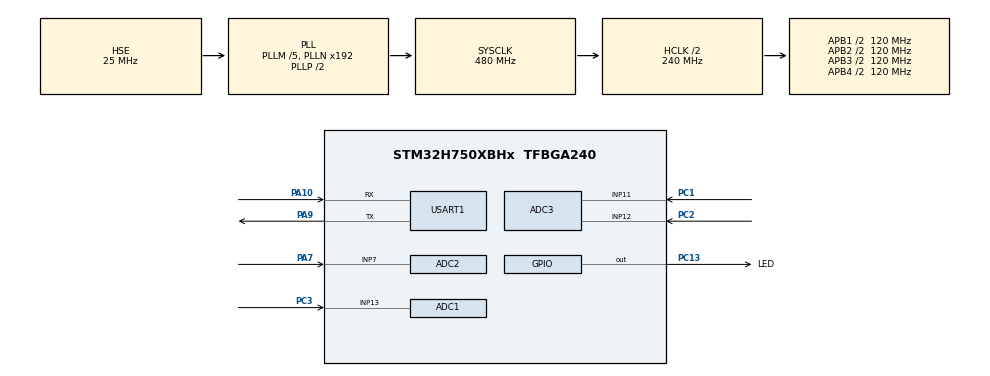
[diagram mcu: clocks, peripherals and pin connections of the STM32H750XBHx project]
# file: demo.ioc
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ADC1.Channel-0\#ChannelRegularConversion=ADC_CHANNEL_12
ADC1.Channel-1\#ChannelRegularConversion=ADC_CHANNEL_13
ADC1.ContinuousConvMode=ENABLE
ADC1.ConversionDataManagement=ADC_CONVERSIONDATA_DMA_CIRCULAR
ADC1.NbrOfConversion=2
ADC1.NbrOfConversionFlag=1
ADC1.OffsetNumber-0\#ChannelRegularConversion=ADC_OFFSET_NONE
ADC1.OffsetNumber-1\#ChannelRegularConversion=ADC_OFFSET_NONE
ADC1.OffsetSignedSaturation-0\#ChannelRegularConversion=DISABLE
ADC1.OffsetSignedSaturation-1\#ChannelRegularConversion=DISABLE
ADC1.Overrun=ADC_OVR_DATA_OVERWRITTEN
ADC1.OversamplingMode=ENABLE
ADC1.Rank-0\#ChannelRegularConversion=1
ADC1.Rank-1\#ChannelRegularConversion=2
ADC1.Ratio=1024
ADC1.RightBitShift=ADC_RIGHTBITSHIFT_10
ADC1.SamplingTime-0\#ChannelRegularConversion=ADC_SAMPLETIME_810CYCLES_5
ADC1.SamplingTime-1\#ChannelRegularConversion=ADC_SAMPLETIME_810CYCLES_5
ADC1.master=1
ADC2.Channel-2\#ChannelRegularConversion=ADC_CHANNEL_7
ADC2.ConversionDataManagement=ADC_CONVERSIONDATA_DMA_CIRCULAR
ADC2.ExternalTrigConv=ADC_EXTERNALTRIG_T6_TRGO
ADC2.NbrOfConversionFlag=1
ADC2.OffsetNumber-2\#ChannelRegularConversion=ADC_OFFSET_NONE
ADC2.OffsetSignedSaturation-2\#ChannelRegularConversion=DISABLE
ADC2.Overrun=ADC_OVR_DATA_OVERWRITTEN
ADC2.Rank-2\#ChannelRegularConversion=1
ADC2.SamplingTime-2\#ChannelRegularConversion=ADC_SAMPLETIME_810CYCLES_5
ADC3.Channel-0\#ChannelRegularConversion=ADC_CHANNEL_11
ADC3.Channel-1\#ChannelRegularConversion=ADC_CHANNEL_12
ADC3.Channel-2\#ChannelRegularConversion=ADC_CHANNEL_VREFINT
ADC3.Channel-4\#ChannelRegularConversion=ADC_CHANNEL_TEMPSENSOR
ADC3.ContinuousConvMode=ENABLE
ADC3.ConversionDataManagement=ADC_CONVERSIONDATA_DMA_CIRCULAR
ADC3.NbrOfConversion=4
ADC3.NbrOfConversionFlag=1
ADC3.OffsetNumber-0\#ChannelRegularConversion=ADC_OFFSET_NONE
ADC3.OffsetNumber-1\#ChannelRegularConversion=ADC_OFFSET_NONE
ADC3.OffsetNumber-2\#ChannelRegularConversion=ADC_OFFSET_NONE
ADC3.OffsetNumber-4\#ChannelRegularConversion=ADC_OFFSET_NONE
ADC3.OffsetSignedSaturation-0\#ChannelRegularConversion=DISABLE
ADC3.OffsetSignedSaturation-1\#ChannelRegularConversion=DISABLE
ADC3.OffsetSignedSaturation-2\#ChannelRegularConversion=DISABLE
ADC3.OffsetSignedSaturation-4\#ChannelRegularConversion=DISABLE
ADC3.Overrun=ADC_OVR_DATA_OVERWRITTEN
ADC3.OversamplingMode=DISABLE
ADC3.Rank-0\#ChannelRegularConversion=1
ADC3.Rank-1\#ChannelRegularConversion=2
ADC3.Rank-2\#ChannelRegularConversion=3
ADC3.Rank-4\#ChannelRegularConversion=4
ADC3.SamplingTime-0\#ChannelRegularConversion=ADC_SAMPLETIME_810CYCLES_5
ADC3.SamplingTime-1\#ChannelRegularConversion=ADC_SAMPLETIME_810CYCLES_5
ADC3.SamplingTime-2\#ChannelRegularConversion=ADC_SAMPLETIME_810CYCLES_5
ADC3.SamplingTime-4\#ChannelRegularConversion=ADC_SAMPLETIME_810CYCLES_5
Bdma.ADC3.0.Direction=DMA_PERIPH_TO_MEMORY
Bdma.ADC3.0.EventEnable=DISABLE
Bdma.ADC3.0.Instance=BDMA_Channel0
Bdma.ADC3.0.MemDataAlignment=DMA_MDATAALIGN_HALFWORD
Bdma.ADC3.0.MemInc=DMA_MINC_ENABLE
Bdma.ADC3.0.Mode=DMA_CIRCULAR
Bdma.ADC3.0.PeriphDataAlignment=DMA_PDATAALIGN_HALFWORD
Bdma.ADC3.0.PeriphInc=DMA_PINC_DISABLE
Bdma.ADC3.0.Polarity=HAL_DMAMUX_REQ_GEN_RISING
Bdma.ADC3.0.Priority=DMA_PRIORITY_LOW
Bdma.ADC3.0.RequestNumber=1
Bdma.ADC3.0.SignalID=NONE
Bdma.ADC3.0.SyncEnable=ENABLE
Bdma.ADC3.0.SyncPolarity=HAL_DMAMUX_SYNC_RISING
Bdma.ADC3.0.SyncRequestNumber=1
Bdma.ADC3.0.SyncSignalID=NONE
Bdma.Request0=ADC3
Bdma.RequestsNb=1
CORTEX_M7.CPU_DCache=Enabled
CORTEX_M7.default_mode_Activation=1
Dma.ADC1.0.Direction=DMA_PERIPH_TO_MEMORY
Dma.ADC1.0.EventEnable=DISABLE
Dma.ADC1.0.FIFOMode=DMA_FIFOMODE_DISABLE
Dma.ADC1.0.Instance=DMA1_Stream0
Dma.ADC1.0.MemDataAlignment=DMA_MDATAALIGN_HALFWORD
Dma.ADC1.0.MemInc=DMA_MINC_ENABLE
Dma.ADC1.0.Mode=DMA_CIRCULAR
Dma.ADC1.0.PeriphDataAlignment=DMA_PDATAALIGN_HALFWORD
Dma.ADC1.0.PeriphInc=DMA_PINC_DISABLE
Dma.ADC1.0.Polarity=HAL_DMAMUX_REQ_GEN_RISING
Dma.ADC1.0.Priority=DMA_PRIORITY_LOW
Dma.ADC1.0.RequestNumber=1
Dma.ADC1.0.SignalID=NONE
Dma.ADC1.0.SyncEnable=DISABLE
Dma.ADC1.0.SyncPolarity=HAL_DMAMUX_SYNC_NO_EVENT
Dma.ADC1.0.SyncRequestNumber=1
Dma.ADC1.0.SyncSignalID=NONE
Dma.ADC2.1.Direction=DMA_PERIPH_TO_MEMORY
Dma.ADC2.1.EventEnable=DISABLE
Dma.ADC2.1.FIFOMode=DMA_FIFOMODE_DISABLE
Dma.ADC2.1.Instance=DMA1_Stream1
Dma.ADC2.1.MemDataAlignment=DMA_MDATAALIGN_HALFWORD
Dma.ADC2.1.MemInc=DMA_MINC_ENABLE
Dma.ADC2.1.Mode=DMA_CIRCULAR
Dma.ADC2.1.PeriphDataAlignment=DMA_PDATAALIGN_HALFWORD
Dma.ADC2.1.PeriphInc=DMA_PINC_DISABLE
Dma.ADC2.1.Polarity=HAL_DMAMUX_REQ_GEN_RISING
Dma.ADC2.1.Priority=DMA_PRIORITY_LOW
Dma.ADC2.1.RequestNumber=1
Dma.ADC2.1.SignalID=NONE
Dma.ADC2.1.SyncEnable=DISABLE
Dma.ADC2.1.SyncPolarity=HAL_DMAMUX_SYNC_NO_EVENT
Dma.ADC2.1.SyncRequestNumber=1
Dma.ADC2.1.SyncSignalID=NONE
Dma.Request0=ADC1
Dma.Request1=ADC2
Mcu.Family=STM32H7
Mcu.Name=STM32H750XBHx
Mcu.Package=TFBGA240
NVIC.BDMA_Channel0_IRQn=true\:0\:0\:false\:false\:true\:false\:true\:true
NVIC.DMA1_Stream0_IRQn=true\:0\:0\:false\:false\:true\:false\:true\:true
NVIC.DMA1_Stream1_IRQn=true\:0\:0\:false\:false\:true\:false\:true\:true
NVIC.DMAMUX2_OVR_IRQn=true\:0\:0\:false\:false\:true\:false\:true\:true
NVIC.PriorityGroup=NVIC_PRIORITYGROUP_4
PA10.Mode=Asynchronous
PA10.Signal=USART1_RX
PA13\ (JTMS/SWDIO).Mode=Serial_Wire
PA13\ (JTMS/SWDIO).Signal=DEBUG_JTMS-SWDIO
PA14\ (JTCK/SWCLK).Mode=Serial_Wire
PA14\ (JTCK/SWCLK).Signal=DEBUG_JTCK-SWCLK
PA7.Signal=ADCx_INP7
PA9.Mode=Asynchronous
PA9.Signal=USART1_TX
PC1.Signal=ADCx_INP11
PC13.GPIO_Label=LED
PC13.GPIO_PuPd=GPIO_PULLUP
PC13.PinState=GPIO_PIN_SET
PC13.Signal=GPIO_Output
PC2.Signal=ADCx_INP12
PC3.Signal=ADCx_INP13
PH0-OSC_IN\ (PH0).Mode=HSE-External-Oscillator
PH0-OSC_IN\ (PH0).Signal=RCC_OSC_IN
PH1-OSC_OUT\ (PH1).Mode=HSE-External-Oscillator
PH1-OSC_OUT\ (PH1).Signal=RCC_OSC_OUT
ProjectManager.HeapSize=0x10000
ProjectManager.StackSize=0x10000
ProjectManager.TargetToolchain=MDK-ARM V5.32
RCC.ADCFreq_Value=75000000
RCC.APB1Freq_Value=120000000
RCC.APB2Freq_Value=120000000
RCC.APB3Freq_Value=120000000
RCC.APB4Freq_Value=120000000
RCC.CortexFreq_Value=480000000
RCC.D1PPRE=RCC_APB3_DIV2
RCC.D2PPRE1=RCC_APB1_DIV2
RCC.D2PPRE2=RCC_APB2_DIV2
RCC.D3PPRE=RCC_APB4_DIV2
RCC.DIVM1=5
RCC.DIVM2=2
RCC.DIVN1=192
RCC.DIVN2=12
RCC.HCLKFreq_Value=240000000
RCC.HPRE=RCC_HCLK_DIV2
RCC.PLL2FRACN=0
RCC.PLL3FRACN=0
RCC.PLLFRACN=0
RCC.PLLSourceVirtual=RCC_PLLSOURCE_HSE
RCC.PWR_Regulator_Voltage_Scale=PWR_REGULATOR_VOLTAGE_SCALE0
RCC.SYSCLKFreq_VALUE=480000000
RCC.SYSCLKSource=RCC_SYSCLKSOURCE_PLLCLK
RCC.USBFreq_Value=480000000
SH.ADCx_INP11.0=ADC3_INP11,IN11-Single-Ended
SH.ADCx_INP12.0=ADC3_INP12,IN12-Single-Ended
SH.ADCx_INP12.1=ADC1_INP12,IN12-Single-Ended
SH.ADCx_INP13.0=ADC1_INP13,IN13-Single-Ended
SH.ADCx_INP7.0=ADC2_INP7,IN7-Single-Ended
TIM6.AutoReloadPreload=TIM_AUTORELOAD_PRELOAD_ENABLE
TIM6.Period=500-1
TIM6.Prescaler=240-1
TIM6.TIM_MasterOutputTrigger=TIM_TRGO_UPDATE
USART1.VirtualMode-Asynchronous=VM_ASYNC
VP_ADC3_TempSens_Input.Mode=IN-TempSens
VP_ADC3_Vref_Input.Mode=IN-Vrefint
VP_TIM6_VS_ClockSourceINT.Mode=Enable_Timer
board=custom

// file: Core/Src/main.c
/* USER CODE BEGIN Header */
/**
 ******************************************************************************
 * @file           : main.c
 * @brief          : Main program body
 ******************************************************************************
 * @attention
 *
 * Copyright (c) 2023 STMicroelectronics.
 * All rights reserved.
 *
 * This software is licensed under terms that can be found in the LICENSE file
 * in the root directory of this software component.
 * If no LICENSE file comes with this software, it is provided AS-IS.
 *
 ******************************************************************************
 */
/* USER CODE END Header */
#include "main.h"

/* USER CODE BEGIN Includes */
#include "dsp_fft.h"
#include "adc_ts.h"

/* USER CODE END Includes */

/* USER CODE BEGIN PTD */
typedef float float32_t;

/* USER CODE END PTD */

/* USER CODE BEGIN PD */

#if defined(__CC_ARM)  // AC5
#define __AT_ADDR(addr) __attribute__((at(addr)))
#elif defined(__GNUC__)  // AC6
#define __AT_ADDR(addr) __attribute__((section(".ARM.__at_" #addr)))
#endif

#ifndef FFT_N
#define FFT_N 2048  // 配置项: FFT 点数
#endif

/* USER CODE END PD */

/* USER CODE BEGIN PM */
#define ARRAY_SIZE(array) (sizeof(array) / sizeof(*(array)))

/* USER CODE END PM */

ADC_HandleTypeDef hadc1;
ADC_HandleTypeDef hadc2;
ADC_HandleTypeDef hadc3;
DMA_HandleTypeDef hdma_adc1;
DMA_HandleTypeDef hdma_adc2;
DMA_HandleTypeDef hdma_adc3;

TIM_HandleTypeDef htim6;

UART_HandleTypeDef huart1;

/* USER CODE BEGIN PV */

__AT_ADDR(0x24000000)
ALIGN_32BYTES(__IO uint16_t ADC1_Conv[2]) = {0};  // AXI

__AT_ADDR(0x24000000)
ALIGN_32BYTES(__IO uint16_t ADC2_Conv[FFT_N * 2]) = {0};  // AXI

__AT_ADDR(0x38000000)
ALIGN_32BYTES(__IO uint16_t ADC3_Conv[4]) = {0};  // SRAM4

/* USER CODE END PV */

void SystemClock_Config(void);
void PeriphCommonClock_Config(void);
static void MPU_Config(void);
static void MX_GPIO_Init(void);
static void MX_BDMA_Init(void);
static void MX_DMA_Init(void);
static void MX_ADC3_Init(void);
static void MX_ADC1_Init(void);
static void MX_USART1_UART_Init(void);
static void MX_ADC2_Init(void);
static void MX_TIM6_Init(void);

/* USER CODE BEGIN 0 */

static uint16_t ADC2_Fs_Hz;
static uint8_t  ADC2_Conv_DmaStage = 0;

void ADC2_DMA_CallBack(void)  // call in DMAx_Streamx_IRQHandler()
{
    // DMA double buffer (双缓冲原理: DMA过半中断)

    if ((DMA1->LISR & DMA_FLAG_HTIF1_5) != RESET)  // HalfCplt
    {
        SCB_InvalidateDCache_by_Addr((uint32_t*)(&ADC2_Conv[0]), FFT_N);
        ADC2_Conv_DmaStage = 1;
    }
    else if ((DMA1->LISR & DMA_FLAG_TCIF1_5) != RESET)  // Cplt
    {
        SCB_InvalidateDCache_by_Addr((uint32_t*)(&ADC2_Conv[FFT_N]), FFT_N);
        ADC2_Conv_DmaStage = 2;
    }
}

void ADC2_FFT_Proc(void)
{
    float32_t aInput[FFT_N];

    uint16_t*  pSrc;
    float32_t* pDest = &aInput[0];

    switch (ADC2_Conv_DmaStage)
    {
        case 1:
            pSrc = (uint16_t*)&ADC2_Conv[0];
            break;
        case 2:
            pSrc = (uint16_t*)&ADC2_Conv[FFT_N];
            break;
        default:
            return;
    }

    ADC2_Conv_DmaStage = 0;

    for (uint32_t i = 0; i < FFT_N; i++)
    {
#if 0
        // 50Hz cos + 100Hz cos, fs = 1024, phase = 60
        *pDest++ = 1.2 + 2.5 * cos(2 * 3.1415926 * 50 * i / 1024 + 3.1415926 / 3) + 1.9 * cos(2 * 3.1415926 * 100 * i / 1024 + 3.1415926 / 4);
#else
        *pDest++ = *pSrc++;
#endif
    }

    FFT(aInput, FFT_N, ADC2_Fs_Hz);
}

/* USER CODE END 0 */

int main(void)
{

  /* MPU Configuration--------------------------------------------------------*/
  MPU_Config();

  /* Enable D-Cache---------------------------------------------------------*/
  SCB_EnableDCache();

  /* MCU Configuration--------------------------------------------------------*/

  /* Reset of all peripherals, Initializes the Flash interface and the Systick. */
  HAL_Init();

  /* Configure the system clock */
  SystemClock_Config();

/* Configure the peripherals common clocks */
  PeriphCommonClock_Config();

  /* Initialize all configured peripherals */
  MX_GPIO_Init();
  MX_BDMA_Init();
  MX_DMA_Init();
  MX_ADC3_Init();
  MX_ADC1_Init();
  MX_USART1_UART_Init();
  MX_ADC2_Init();
  MX_TIM6_Init();
  /* USER CODE BEGIN 2 */

    // TIM6 APB1 = 240MHz

    uint32_t ADC_CalibrationMode;
#if 1
    ADC_CalibrationMode = ADC_CALIB_OFFSET;  // 偏移校准
#else
    ADC_CalibrationMode = ADC_CALIB_OFFSET_LINEARITY;  // 线性度校准
#endif

    if (HAL_ADCEx_Calibration_Start(&hadc1, ADC_CalibrationMode, ADC_SINGLE_ENDED) != HAL_OK)
    {
        Error_Handler();
    }
    if (HAL_ADCEx_Calibration_Start(&hadc2, ADC_CalibrationMode, ADC_SINGLE_ENDED) != HAL_OK)
    {
        Error_Handler();
    }
    if (HAL_ADCEx_Calibration_Start(&hadc3, ADC_CalibrationMode, ADC_SINGLE_ENDED) != HAL_OK)
    {
        Error_Handler();
    }

    HAL_ADC_Start_DMA(&hadc1, (uint32_t*)ADC1_Conv, ARRAY_SIZE(ADC1_Conv));
    HAL_ADC_Start_DMA(&hadc2, (uint32_t*)ADC2_Conv, ARRAY_SIZE(ADC2_Conv));
    HAL_ADC_Start_DMA(&hadc3, (uint32_t*)ADC3_Conv, ARRAY_SIZE(ADC3_Conv));

    HAL_TIM_Base_Start(&htim6);

    ADC2_Fs_Hz = 240e6 / (htim6.Init.Prescaler + 1) / (htim6.Init.Period + 1);

    // singal max frequency <= ADC2_Fs_Hz/2
    printf("ADC2 Fs = %d Hz\n", ADC2_Fs_Hz);

  /* USER CODE END 2 */

  /* Infinite loop */
  /* USER CODE BEGIN WHILE */

    while (1)
    {
        //-----------------------------------------------------------------------------
        // Display ADC1 & ADC3 singal's Voltage

        static uint32_t tDispConvAD = 0;

        if (DelayNonBlock(tDispConvAD, 1000))
        {
            static uint16_t nSampleIndex = 0;

            tDispConvAD = HAL_GetTick();

            // Invalidate: 使无效; 必须调用, 不然 DataCache 满了 DMA 搬不了数据。

            SCB_InvalidateDCache_by_Addr((uint32_t*)(&ADC1_Conv[0]), ARRAY_SIZE(ADC1_Conv));
            SCB_InvalidateDCache_by_Addr((uint32_t*)(&ADC3_Conv[0]), ARRAY_SIZE(ADC3_Conv));

#if 0

            printf("%5d | ", nSampleIndex++);

            for (uint16_t i = 0; i < ARRAY_SIZE(ADC1_Conv); ++i)
            {
                // ADC1_Conv[i] /= hadc1.Init.Oversampling.Ratio;
                printf("%.6f ", AD2VOL(ADC1_Conv[i]));
            }

            for (uint16_t i = 0; i < ARRAY_SIZE(ADC3_Conv); ++i)
            {
                printf("%.6f ", (i == 3) ? TS_ConvTemp(ADC3_Conv[i]) : AD2VOL(ADC3_Conv[i]));
            }

            printf("\n");

#endif
        }

#if 1

        //-----------------------------------------------------------------------------
        // Display ADC2 singal's Frequency and Phase

        if (ADC2_Conv_DmaStage != 0)
        {
            static uint16_t nSampleIndex = 0;

            printf("%5d | ", nSampleIndex++);
            ADC2_FFT_Proc();
        }

#endif

    /* USER CODE END WHILE */

    }
}

void SystemClock_Config(void)
{
  RCC_OscInitTypeDef RCC_OscInitStruct = {0};
  RCC_ClkInitTypeDef RCC_ClkInitStruct = {0};

  /** Supply configuration update enable
  */
  HAL_PWREx_ConfigSupply(PWR_LDO_SUPPLY);

  /** Configure the main internal regulator output voltage
  */
  __HAL_PWR_VOLTAGESCALING_CONFIG(PWR_REGULATOR_VOLTAGE_SCALE1);

  while(!__HAL_PWR_GET_FLAG(PWR_FLAG_VOSRDY)) {}

  __HAL_RCC_SYSCFG_CLK_ENABLE();
  __HAL_PWR_VOLTAGESCALING_CONFIG(PWR_REGULATOR_VOLTAGE_SCALE0);

  while(!__HAL_PWR_GET_FLAG(PWR_FLAG_VOSRDY)) {}

  /** Initializes the RCC Oscillators according to the specified parameters
  * in the RCC_OscInitTypeDef structure.
  */
  RCC_OscInitStruct.OscillatorType = RCC_OSCILLATORTYPE_HSE;
  RCC_OscInitStruct.HSEState = RCC_HSE_ON;
  RCC_OscInitStruct.PLL.PLLState = RCC_PLL_ON;
  RCC_OscInitStruct.PLL.PLLSource = RCC_PLLSOURCE_HSE;
  RCC_OscInitStruct.PLL.PLLM = 5;
  RCC_OscInitStruct.PLL.PLLN = 192;
  RCC_OscInitStruct.PLL.PLLP = 2;
  RCC_OscInitStruct.PLL.PLLQ = 2;
  RCC_OscInitStruct.PLL.PLLR = 2;
  RCC_OscInitStruct.PLL.PLLRGE = RCC_PLL1VCIRANGE_2;
  RCC_OscInitStruct.PLL.PLLVCOSEL = RCC_PLL1VCOWIDE;
  RCC_OscInitStruct.PLL.PLLFRACN = 0;
  if (HAL_RCC_OscConfig(&RCC_OscInitStruct) != HAL_OK)
  {
    Error_Handler();
  }

  /** Initializes the CPU, AHB and APB buses clocks
  */
  RCC_ClkInitStruct.ClockType = RCC_CLOCKTYPE_HCLK|RCC_CLOCKTYPE_SYSCLK
                              |RCC_CLOCKTYPE_PCLK1|RCC_CLOCKTYPE_PCLK2
                              |RCC_CLOCKTYPE_D3PCLK1|RCC_CLOCKTYPE_D1PCLK1;
  RCC_ClkInitStruct.SYSCLKSource = RCC_SYSCLKSOURCE_PLLCLK;
  RCC_ClkInitStruct.SYSCLKDivider = RCC_SYSCLK_DIV1;
  RCC_ClkInitStruct.AHBCLKDivider = RCC_HCLK_DIV2;
  RCC_ClkInitStruct.APB3CLKDivider = RCC_APB3_DIV2;
  RCC_ClkInitStruct.APB1CLKDivider = RCC_APB1_DIV2;
  RCC_ClkInitStruct.APB2CLKDivider = RCC_APB2_DIV2;
  RCC_ClkInitStruct.APB4CLKDivider = RCC_APB4_DIV2;

  if (HAL_RCC_ClockConfig(&RCC_ClkInitStruct, FLASH_LATENCY_4) != HAL_OK)
  {
    Error_Handler();
  }
}

void PeriphCommonClock_Config(void)
{
  RCC_PeriphCLKInitTypeDef PeriphClkInitStruct = {0};

  /** Initializes the peripherals clock
  */
  PeriphClkInitStruct.PeriphClockSelection = RCC_PERIPHCLK_ADC;
  PeriphClkInitStruct.PLL2.PLL2M = 2;
  PeriphClkInitStruct.PLL2.PLL2N = 12;
  PeriphClkInitStruct.PLL2.PLL2P = 2;
  PeriphClkInitStruct.PLL2.PLL2Q = 2;
  PeriphClkInitStruct.PLL2.PLL2R = 2;
  PeriphClkInitStruct.PLL2.PLL2RGE = RCC_PLL2VCIRANGE_3;
  PeriphClkInitStruct.PLL2.PLL2VCOSEL = RCC_PLL2VCOMEDIUM;
  PeriphClkInitStruct.PLL2.PLL2FRACN = 0;
  PeriphClkInitStruct.AdcClockSelection = RCC_ADCCLKSOURCE_PLL2;
  if (HAL_RCCEx_PeriphCLKConfig(&PeriphClkInitStruct) != HAL_OK)
  {
    Error_Handler();
  }
}

static void MX_ADC1_Init(void)
{

  ADC_MultiModeTypeDef multimode = {0};
  ADC_ChannelConfTypeDef sConfig = {0};

  /** Common config
  */
  hadc1.Instance = ADC1;
  hadc1.Init.ClockPrescaler = ADC_CLOCK_ASYNC_DIV1;
  hadc1.Init.Resolution = ADC_RESOLUTION_16B;
  hadc1.Init.ScanConvMode = ADC_SCAN_ENABLE;
  hadc1.Init.EOCSelection = ADC_EOC_SINGLE_CONV;
  hadc1.Init.LowPowerAutoWait = DISABLE;
  hadc1.Init.ContinuousConvMode = ENABLE;
  hadc1.Init.NbrOfConversion = 2;
  hadc1.Init.DiscontinuousConvMode = DISABLE;
  hadc1.Init.ExternalTrigConv = ADC_SOFTWARE_START;
  hadc1.Init.ExternalTrigConvEdge = ADC_EXTERNALTRIGCONVEDGE_NONE;
  hadc1.Init.ConversionDataManagement = ADC_CONVERSIONDATA_DMA_CIRCULAR;
  hadc1.Init.Overrun = ADC_OVR_DATA_OVERWRITTEN;
  hadc1.Init.LeftBitShift = ADC_LEFTBITSHIFT_NONE;
  hadc1.Init.OversamplingMode = ENABLE;
  hadc1.Init.Oversampling.Ratio = 1024;
  hadc1.Init.Oversampling.RightBitShift = ADC_RIGHTBITSHIFT_10;
  hadc1.Init.Oversampling.TriggeredMode = ADC_TRIGGEREDMODE_SINGLE_TRIGGER;
  hadc1.Init.Oversampling.OversamplingStopReset = ADC_REGOVERSAMPLING_CONTINUED_MODE;
  if (HAL_ADC_Init(&hadc1) != HAL_OK)
  {
    Error_Handler();
  }

  /** Configure the ADC multi-mode
  */
  multimode.Mode = ADC_MODE_INDEPENDENT;
  if (HAL_ADCEx_MultiModeConfigChannel(&hadc1, &multimode) != HAL_OK)
  {
    Error_Handler();
  }

  /** Configure Regular Channel
  */
  sConfig.Channel = ADC_CHANNEL_12;
  sConfig.Rank = ADC_REGULAR_RANK_1;
  sConfig.SamplingTime = ADC_SAMPLETIME_810CYCLES_5;
  sConfig.SingleDiff = ADC_SINGLE_ENDED;
  sConfig.OffsetNumber = ADC_OFFSET_NONE;
  sConfig.Offset = 0;
  sConfig.OffsetSignedSaturation = DISABLE;
  if (HAL_ADC_ConfigChannel(&hadc1, &sConfig) != HAL_OK)
  {
    Error_Handler();
  }

  /** Configure Regular Channel
  */
  sConfig.Channel = ADC_CHANNEL_13;
  sConfig.Rank = ADC_REGULAR_RANK_2;
  if (HAL_ADC_ConfigChannel(&hadc1, &sConfig) != HAL_OK)
  {
    Error_Handler();
  }

}

static void MX_ADC2_Init(void)
{

  ADC_ChannelConfTypeDef sConfig = {0};

  /** Common config
  */
  hadc2.Instance = ADC2;
  hadc2.Init.ClockPrescaler = ADC_CLOCK_ASYNC_DIV1;
  hadc2.Init.Resolution = ADC_RESOLUTION_16B;
  hadc2.Init.ScanConvMode = ADC_SCAN_DISABLE;
  hadc2.Init.EOCSelection = ADC_EOC_SINGLE_CONV;
  hadc2.Init.LowPowerAutoWait = DISABLE;
  hadc2.Init.ContinuousConvMode = DISABLE;
  hadc2.Init.NbrOfConversion = 1;
  hadc2.Init.DiscontinuousConvMode = DISABLE;
  hadc2.Init.ExternalTrigConv = ADC_EXTERNALTRIG_T6_TRGO;
  hadc2.Init.ExternalTrigConvEdge = ADC_EXTERNALTRIGCONVEDGE_RISING;
  hadc2.Init.ConversionDataManagement = ADC_CONVERSIONDATA_DMA_CIRCULAR;
  hadc2.Init.Overrun = ADC_OVR_DATA_OVERWRITTEN;
  hadc2.Init.LeftBitShift = ADC_LEFTBITSHIFT_NONE;
  hadc2.Init.OversamplingMode = DISABLE;
  if (HAL_ADC_Init(&hadc2) != HAL_OK)
  {
    Error_Handler();
  }

  /** Configure Regular Channel
  */
  sConfig.Channel = ADC_CHANNEL_7;
  sConfig.Rank = ADC_REGULAR_RANK_1;
  sConfig.SamplingTime = ADC_SAMPLETIME_810CYCLES_5;
  sConfig.SingleDiff = ADC_SINGLE_ENDED;
  sConfig.OffsetNumber = ADC_OFFSET_NONE;
  sConfig.Offset = 0;
  sConfig.OffsetSignedSaturation = DISABLE;
  if (HAL_ADC_ConfigChannel(&hadc2, &sConfig) != HAL_OK)
  {
    Error_Handler();
  }

}

static void MX_ADC3_Init(void)
{

  ADC_ChannelConfTypeDef sConfig = {0};

  /** Common config
  */
  hadc3.Instance = ADC3;
  hadc3.Init.Resolution = ADC_RESOLUTION_16B;
  hadc3.Init.ScanConvMode = ADC_SCAN_ENABLE;
  hadc3.Init.EOCSelection = ADC_EOC_SINGLE_CONV;
  hadc3.Init.LowPowerAutoWait = DISABLE;
  hadc3.Init.ContinuousConvMode = ENABLE;
  hadc3.Init.NbrOfConversion = 4;
  hadc3.Init.DiscontinuousConvMode = DISABLE;
  hadc3.Init.ExternalTrigConv = ADC_SOFTWARE_START;
  hadc3.Init.ExternalTrigConvEdge = ADC_EXTERNALTRIGCONVEDGE_NONE;
  hadc3.Init.ConversionDataManagement = ADC_CONVERSIONDATA_DMA_CIRCULAR;
  hadc3.Init.Overrun = ADC_OVR_DATA_OVERWRITTEN;
  hadc3.Init.LeftBitShift = ADC_LEFTBITSHIFT_NONE;
  hadc3.Init.OversamplingMode = DISABLE;
  if (HAL_ADC_Init(&hadc3) != HAL_OK)
  {
    Error_Handler();
  }

  /** Configure Regular Channel
  */
  sConfig.Channel = ADC_CHANNEL_11;
  sConfig.Rank = ADC_REGULAR_RANK_1;
  sConfig.SamplingTime = ADC_SAMPLETIME_810CYCLES_5;
  sConfig.SingleDiff = ADC_SINGLE_ENDED;
  sConfig.OffsetNumber = ADC_OFFSET_NONE;
  sConfig.Offset = 0;
  sConfig.OffsetSignedSaturation = DISABLE;
  if (HAL_ADC_ConfigChannel(&hadc3, &sConfig) != HAL_OK)
  {
    Error_Handler();
  }

  /** Configure Regular Channel
  */
  sConfig.Channel = ADC_CHANNEL_12;
  sConfig.Rank = ADC_REGULAR_RANK_2;
  if (HAL_ADC_ConfigChannel(&hadc3, &sConfig) != HAL_OK)
  {
    Error_Handler();
  }

  /** Configure Regular Channel
  */
  sConfig.Channel = ADC_CHANNEL_VREFINT;
  sConfig.Rank = ADC_REGULAR_RANK_3;
  if (HAL_ADC_ConfigChannel(&hadc3, &sConfig) != HAL_OK)
  {
    Error_Handler();
  }

  /** Configure Regular Channel
  */
  sConfig.Channel = ADC_CHANNEL_TEMPSENSOR;
  sConfig.Rank = ADC_REGULAR_RANK_4;
  if (HAL_ADC_ConfigChannel(&hadc3, &sConfig) != HAL_OK)
  {
    Error_Handler();
  }

}

static void MX_TIM6_Init(void)
{

  TIM_MasterConfigTypeDef sMasterConfig = {0};

  htim6.Instance = TIM6;
  htim6.Init.Prescaler = 240-1;
  htim6.Init.CounterMode = TIM_COUNTERMODE_UP;
  htim6.Init.Period = 500-1;
  htim6.Init.AutoReloadPreload = TIM_AUTORELOAD_PRELOAD_ENABLE;
  if (HAL_TIM_Base_Init(&htim6) != HAL_OK)
  {
    Error_Handler();
  }
  sMasterConfig.MasterOutputTrigger = TIM_TRGO_UPDATE;
  sMasterConfig.MasterSlaveMode = TIM_MASTERSLAVEMODE_DISABLE;
  if (HAL_TIMEx_MasterConfigSynchronization(&htim6, &sMasterConfig) != HAL_OK)
  {
    Error_Handler();
  }

}

static void MX_USART1_UART_Init(void)
{

  huart1.Instance = USART1;
  huart1.Init.BaudRate = 115200;
  huart1.Init.WordLength = UART_WORDLENGTH_8B;
  huart1.Init.StopBits = UART_STOPBITS_1;
  huart1.Init.Parity = UART_PARITY_NONE;
  huart1.Init.Mode = UART_MODE_TX_RX;
  huart1.Init.HwFlowCtl = UART_HWCONTROL_NONE;
  huart1.Init.OverSampling = UART_OVERSAMPLING_16;
  huart1.Init.OneBitSampling = UART_ONE_BIT_SAMPLE_DISABLE;
  huart1.Init.ClockPrescaler = UART_PRESCALER_DIV1;
  huart1.AdvancedInit.AdvFeatureInit = UART_ADVFEATURE_NO_INIT;
  if (HAL_UART_Init(&huart1) != HAL_OK)
  {
    Error_Handler();
  }
  if (HAL_UARTEx_SetTxFifoThreshold(&huart1, UART_TXFIFO_THRESHOLD_1_8) != HAL_OK)
  {
    Error_Handler();
  }
  if (HAL_UARTEx_SetRxFifoThreshold(&huart1, UART_RXFIFO_THRESHOLD_1_8) != HAL_OK)
  {
    Error_Handler();
  }
  if (HAL_UARTEx_DisableFifoMode(&huart1) != HAL_OK)
  {
    Error_Handler();
  }

}

static void MX_BDMA_Init(void)
{

  /* DMA controller clock enable */
  __HAL_RCC_BDMA_CLK_ENABLE();

  /* DMA interrupt init */
  /* DMAMUX2_OVR_IRQn interrupt configuration */
  HAL_NVIC_SetPriority(DMAMUX2_OVR_IRQn, 0, 0);
  HAL_NVIC_EnableIRQ(DMAMUX2_OVR_IRQn);
  /* BDMA_Channel0_IRQn interrupt configuration */
  HAL_NVIC_SetPriority(BDMA_Channel0_IRQn, 0, 0);
  HAL_NVIC_EnableIRQ(BDMA_Channel0_IRQn);

}

static void MX_DMA_Init(void)
{

  /* DMA controller clock enable */
  __HAL_RCC_DMA1_CLK_ENABLE();

  /* DMA interrupt init */
  /* DMA1_Stream0_IRQn interrupt configuration */
  HAL_NVIC_SetPriority(DMA1_Stream0_IRQn, 0, 0);
  HAL_NVIC_EnableIRQ(DMA1_Stream0_IRQn);
  /* DMA1_Stream1_IRQn interrupt configuration */
  HAL_NVIC_SetPriority(DMA1_Stream1_IRQn, 0, 0);
  HAL_NVIC_EnableIRQ(DMA1_Stream1_IRQn);

}

static void MX_GPIO_Init(void)
{
  GPIO_InitTypeDef GPIO_InitStruct = {0};

  /* GPIO Ports Clock Enable */
  __HAL_RCC_GPIOA_CLK_ENABLE();
  __HAL_RCC_GPIOC_CLK_ENABLE();
  __HAL_RCC_GPIOH_CLK_ENABLE();

  /*Configure GPIO pin Output Level */
  HAL_GPIO_WritePin(LED_GPIO_Port, LED_Pin, GPIO_PIN_SET);

  /*Configure GPIO pin : LED_Pin */
  GPIO_InitStruct.Pin = LED_Pin;
  GPIO_InitStruct.Mode = GPIO_MODE_OUTPUT_PP;
  GPIO_InitStruct.Pull = GPIO_PULLUP;
  GPIO_InitStruct.Speed = GPIO_SPEED_FREQ_LOW;
  HAL_GPIO_Init(LED_GPIO_Port, &GPIO_InitStruct);

}

/* MPU Configuration */

void MPU_Config(void)
{
  MPU_Region_InitTypeDef MPU_InitStruct = {0};

  /* Disables the MPU */
  HAL_MPU_Disable();

  /** Initializes and configures the Region and the memory to be protected
  */
  MPU_InitStruct.Enable = MPU_REGION_ENABLE;
  MPU_InitStruct.Number = MPU_REGION_NUMBER0;
  MPU_InitStruct.BaseAddress = 0x0;
  MPU_InitStruct.Size = MPU_REGION_SIZE_4GB;
  MPU_InitStruct.SubRegionDisable = 0x87;
  MPU_InitStruct.TypeExtField = MPU_TEX_LEVEL0;
  MPU_InitStruct.AccessPermission = MPU_REGION_NO_ACCESS;
  MPU_InitStruct.DisableExec = MPU_INSTRUCTION_ACCESS_DISABLE;
  MPU_InitStruct.IsShareable = MPU_ACCESS_SHAREABLE;
  MPU_InitStruct.IsCacheable = MPU_ACCESS_NOT_CACHEABLE;
  MPU_InitStruct.IsBufferable = MPU_ACCESS_NOT_BUFFERABLE;

  HAL_MPU_ConfigRegion(&MPU_InitStruct);
  /* Enables the MPU */
  HAL_MPU_Enable(MPU_PRIVILEGED_DEFAULT);

}

void Error_Handler(void)
{
    __disable_irq();
    while (1)
    {
    }
}
